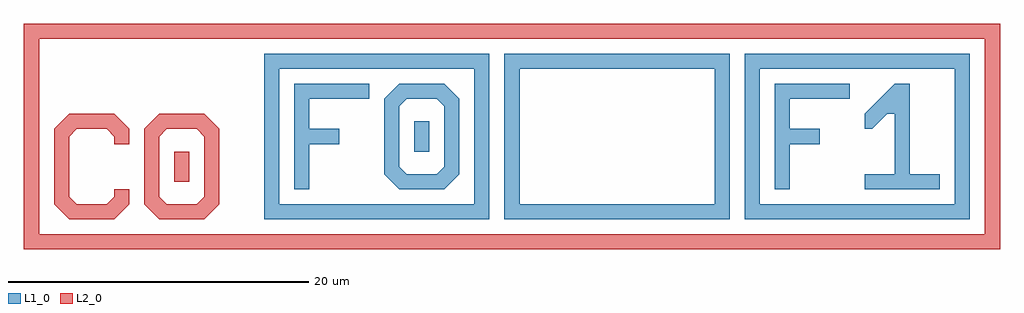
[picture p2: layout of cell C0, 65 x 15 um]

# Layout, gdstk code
import gdstk
lib = gdstk.Library(unit=1e-6, precision=5e-09)
def R(c, l, rs):  # rectangles x0, y0, x1, y1
    for r in rs: c.add(gdstk.rectangle(r[:2], r[2:], *l))
def P(c, l, *ps):  # polygons
    for p in ps: c.add(gdstk.Polygon(p, *l))
L1_0 = (1, 0)
L2_0 = (2, 0)

text_34 = lib.new_cell('TEXT$34')
R(text_34, L2_0, [(8,2.5,9,4.5)])
P(text_34, L2_0, [(1,0),(0,1),(0,6),(1,7),(4,7),(5,6),(5,5),(4,5),(4,5.5),(3.5,6),(1.5,6),(1,5.5),(1,1.5),(1.5,1),(3.5,1),(4,1.5),(4,2),(5,2),(5,1),(4,0)],
  [(7,0),(6,1),(6,6),(7,7),(10,7),(11,6),(7.5,6),(7,5.5),(7,1.5),(7.5,1),(9.5,1),(10,1.5),(10,5.5),(9.5,6),(11,6),(11,1),(10,0)])

text_2 = lib.new_cell('TEXT$2')
R(text_2, L1_0, [(8,2.5,9,4.5)])
P(text_2, L1_0, [(0,0),(0,7),(5,7),(5,6),(1,6),(1,4),(3,4),(3,3),(1,3),(1,0)],
  [(7,0),(6,1),(6,6),(7,7),(10,7),(11,6),(7.5,6),(7,5.5),(7,1.5),(7.5,1),(9.5,1),(10,1.5),(10,5.5),(9.5,6),(11,6),(11,1),(10,0)])

f0_2 = lib.new_cell('F0$2')
f0_2.add(gdstk.FlexPath([(0.5,0.5),(0.5,10.5),(14.5,10.5),(14.5,0.5),(0.5,0.5)], 1, ends="extended", simple_path=True, layer=1, datatype=0))  # L1_0
f0_2.add(gdstk.Reference(text_2, (2,2)))

d0_1 = lib.new_cell('D0$1')
d0_1.add(gdstk.FlexPath([(0.5,0.5),(0.5,10.5),(14.5,10.5),(14.5,0.5),(0.5,0.5)], 1, ends="extended", simple_path=True, layer=1, datatype=0))  # L1_0
d0_1.add(gdstk.FlexPath([(0.5,0.5),(0.5,10.5),(14.5,10.5),(14.5,0.5),(0.5,0.5)], 1, ends="extended", simple_path=True, layer=1, datatype=0))  # L1_0
d0_1.add(gdstk.FlexPath([(0.5,0.5),(0.5,10.5),(14.5,10.5),(14.5,0.5),(0.5,0.5)], 1, ends="extended", simple_path=True, layer=1, datatype=0))  # L1_0
d0_1.add(gdstk.FlexPath([(0.5,0.5),(0.5,10.5),(14.5,10.5),(14.5,0.5),(0.5,0.5)], 1, ends="extended", simple_path=True, layer=1, datatype=0))  # L1_0
d0_1.add(gdstk.FlexPath([(0.5,0.5),(0.5,10.5),(14.5,10.5),(14.5,0.5),(0.5,0.5)], 1, ends="extended", simple_path=True, layer=1, datatype=0))  # L1_0
d0_1.add(gdstk.FlexPath([(0.5,0.5),(0.5,10.5),(14.5,10.5),(14.5,0.5),(0.5,0.5)], 1, ends="extended", simple_path=True, layer=1, datatype=0))  # L1_0
d0_1.add(gdstk.FlexPath([(0.5,0.5),(0.5,10.5),(14.5,10.5),(14.5,0.5),(0.5,0.5)], 1, ends="extended", simple_path=True, layer=1, datatype=0))  # L1_0
d0_1.add(gdstk.FlexPath([(0.5,0.5),(0.5,10.5),(14.5,10.5),(14.5,0.5),(0.5,0.5)], 1, ends="extended", simple_path=True, layer=1, datatype=0))  # L1_0
d0_1.add(gdstk.FlexPath([(0.5,0.5),(0.5,10.5),(14.5,10.5),(14.5,0.5),(0.5,0.5)], 1, ends="extended", simple_path=True, layer=1, datatype=0))  # L1_0
d0_1.add(gdstk.FlexPath([(0.5,0.5),(0.5,10.5),(14.5,10.5),(14.5,0.5),(0.5,0.5)], 1, ends="extended", simple_path=True, layer=1, datatype=0))  # L1_0
d0_1.add(gdstk.FlexPath([(0.5,0.5),(0.5,10.5),(14.5,10.5),(14.5,0.5),(0.5,0.5)], 1, ends="extended", simple_path=True, layer=1, datatype=0))  # L1_0
d0_1.add(gdstk.FlexPath([(0.5,0.5),(0.5,10.5),(14.5,10.5),(14.5,0.5),(0.5,0.5)], 1, ends="extended", simple_path=True, layer=1, datatype=0))  # L1_0
d0_1.add(gdstk.FlexPath([(0.5,0.5),(0.5,10.5),(14.5,10.5),(14.5,0.5),(0.5,0.5)], 1, ends="extended", simple_path=True, layer=1, datatype=0))  # L1_0
d0_1.add(gdstk.FlexPath([(0.5,0.5),(0.5,10.5),(14.5,10.5),(14.5,0.5),(0.5,0.5)], 1, ends="extended", simple_path=True, layer=1, datatype=0))  # L1_0
d0_1.add(gdstk.FlexPath([(0.5,0.5),(0.5,10.5),(14.5,10.5),(14.5,0.5),(0.5,0.5)], 1, ends="extended", simple_path=True, layer=1, datatype=0))  # L1_0
d0_1.add(gdstk.FlexPath([(0.5,0.5),(0.5,10.5),(14.5,10.5),(14.5,0.5),(0.5,0.5)], 1, ends="extended", simple_path=True, layer=1, datatype=0))  # L1_0

text = lib.new_cell('TEXT')
P(text, L1_0, [(0,0),(0,7),(5,7),(5,6),(1,6),(1,4),(3,4),(3,3),(1,3),(1,0)],
  [(6,0),(6,1),(8,1),(8,5),(7.5,5),(6.5,4),(6,4),(6,5),(8,7),(9,7),(9,1),(11,1),(11,0)])

f1_1_1 = lib.new_cell('F1$1$1')
f1_1_1.add(gdstk.FlexPath([(0.5,0.5),(0.5,10.5),(14.5,10.5),(14.5,0.5),(0.5,0.5)], 1, ends="extended", simple_path=True, layer=1, datatype=0))  # L1_0
f1_1_1.add(gdstk.Reference(text, (2,2)))

c_c0 = lib.new_cell('C0')
c_c0.add(gdstk.FlexPath([(0.5,0.5),(0.5,14.5),(64.5,14.5),(64.5,0.5),(0.5,0.5)], 1, ends="extended", simple_path=True, layer=2, datatype=0))  # L2_0
c_c0.add(gdstk.Reference(text_34, (2,2)))
c_c0.add(gdstk.Reference(f0_2, (16,2)))
c_c0.add(gdstk.Reference(d0_1, (32,2)))
c_c0.add(gdstk.Reference(f1_1_1, (48,2)))

lib.write_gds('C0.gds')
